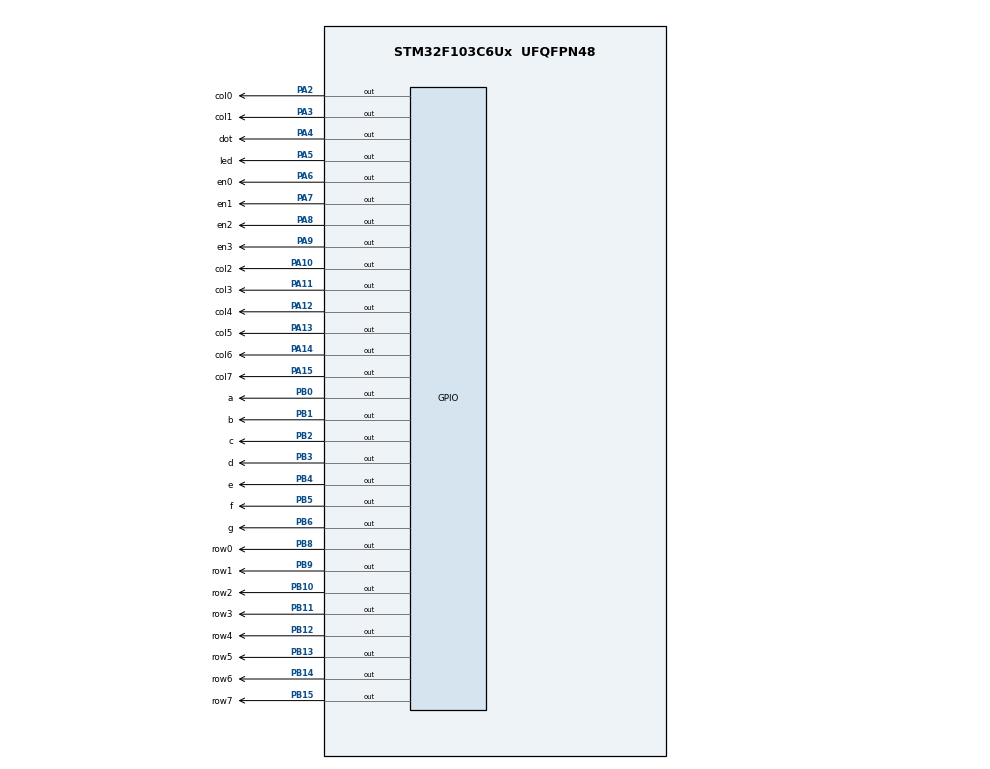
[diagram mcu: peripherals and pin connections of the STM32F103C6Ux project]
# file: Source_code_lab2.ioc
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Mcu.Family=STM32F1
Mcu.Name=STM32F103C6Ux
Mcu.Package=UFQFPN48
NVIC.PriorityGroup=NVIC_PRIORITYGROUP_4
NVIC.TIM2_IRQn=true\:0\:0\:false\:false\:true\:true\:true
PA10.GPIO_Label=col2
PA10.Signal=GPIO_Output
PA11.GPIO_Label=col3
PA11.Signal=GPIO_Output
PA12.GPIO_Label=col4
PA12.Signal=GPIO_Output
PA13.GPIO_Label=col5
PA13.Signal=GPIO_Output
PA14.GPIO_Label=col6
PA14.Signal=GPIO_Output
PA15.GPIO_Label=col7
PA15.Signal=GPIO_Output
PA2.GPIO_Label=col0
PA2.Signal=GPIO_Output
PA3.GPIO_Label=col1
PA3.Signal=GPIO_Output
PA4.GPIO_Label=dot
PA4.Signal=GPIO_Output
PA5.GPIO_Label=led
PA5.Signal=GPIO_Output
PA6.GPIO_Label=en0
PA6.Signal=GPIO_Output
PA7.GPIO_Label=en1
PA7.Signal=GPIO_Output
PA8.GPIO_Label=en2
PA8.Signal=GPIO_Output
PA9.GPIO_Label=en3
PA9.Signal=GPIO_Output
PB0.GPIO_Label=a
PB0.Signal=GPIO_Output
PB1.GPIO_Label=b
PB1.Signal=GPIO_Output
PB10.GPIO_Label=row2
PB10.Signal=GPIO_Output
PB11.GPIO_Label=row3
PB11.Signal=GPIO_Output
PB12.GPIO_Label=row4
PB12.Signal=GPIO_Output
PB13.GPIO_Label=row5
PB13.Signal=GPIO_Output
PB14.GPIO_Label=row6
PB14.Signal=GPIO_Output
PB15.GPIO_Label=row7
PB15.Signal=GPIO_Output
PB2.GPIO_Label=c
PB2.Signal=GPIO_Output
PB3.GPIO_Label=d
PB3.Signal=GPIO_Output
PB4.GPIO_Label=e
PB4.Signal=GPIO_Output
PB5.GPIO_Label=f
PB5.Signal=GPIO_Output
PB6.GPIO_Label=g
PB6.Signal=GPIO_Output
PB8.GPIO_Label=row0
PB8.Signal=GPIO_Output
PB9.GPIO_Label=row1
PB9.Signal=GPIO_Output
ProjectManager.HeapSize=0x200
ProjectManager.StackSize=0x400
ProjectManager.TargetToolchain=STM32CubeIDE
RCC.APB1Freq_Value=8000000
RCC.APB2Freq_Value=8000000
TIM2.Period=9
TIM2.Prescaler=7999
VP_SYS_VS_ND.Mode=No_Debug
VP_TIM2_VS_ClockSourceINT.Mode=Internal
board=custom

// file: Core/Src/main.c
/* USER CODE BEGIN Header */
/**
  ******************************************************************************
  * @file           : main.c
  * @brief          : Main program body
  ******************************************************************************
  * @attention
  *
  * <h2><center>&copy; Copyright (c) 2023 STMicroelectronics.
  * All rights reserved.</center></h2>
  *
  * This software component is licensed by ST under BSD 3-Clause license,
  * the "License"; You may not use this file except in compliance with the
  * License. You may obtain a copy of the License at:
  *                        opensource.org/licenses/BSD-3-Clause
  *
  ******************************************************************************
  */
/* USER CODE END Header */
#include "main.h"
#include "software_timer.h"

TIM_HandleTypeDef htim2;

void SystemClock_Config(void);
static void MX_GPIO_Init(void);
static void MX_TIM2_Init(void);

void display7SEG(int num){
	  if (num == 0){
		  HAL_GPIO_WritePin(a_GPIO_Port, a_Pin, RESET);
		  HAL_GPIO_WritePin(b_GPIO_Port, b_Pin, RESET);
		  HAL_GPIO_WritePin(c_GPIO_Port, c_Pin, RESET);
		  HAL_GPIO_WritePin(d_GPIO_Port, d_Pin, RESET);
		  HAL_GPIO_WritePin(e_GPIO_Port, e_Pin, RESET);
		  HAL_GPIO_WritePin(f_GPIO_Port, f_Pin, RESET);
		  HAL_GPIO_WritePin(g_GPIO_Port, g_Pin, SET);
	  }
	  else if (num == 1){
		  HAL_GPIO_WritePin(a_GPIO_Port, a_Pin, SET);
		  HAL_GPIO_WritePin(b_GPIO_Port, b_Pin, RESET);
		  HAL_GPIO_WritePin(c_GPIO_Port, c_Pin, RESET);
		  HAL_GPIO_WritePin(d_GPIO_Port, d_Pin, SET);
		  HAL_GPIO_WritePin(e_GPIO_Port, e_Pin, SET);
		  HAL_GPIO_WritePin(f_GPIO_Port, f_Pin, SET);
		  HAL_GPIO_WritePin(g_GPIO_Port, g_Pin, SET);
	  }
	  else if (num == 2){
		  HAL_GPIO_WritePin(a_GPIO_Port, a_Pin, RESET);
		  HAL_GPIO_WritePin(b_GPIO_Port, b_Pin, RESET);
		  HAL_GPIO_WritePin(c_GPIO_Port, c_Pin, SET);
		  HAL_GPIO_WritePin(d_GPIO_Port, d_Pin, RESET);
		  HAL_GPIO_WritePin(e_GPIO_Port, e_Pin, RESET);
		  HAL_GPIO_WritePin(f_GPIO_Port, f_Pin, SET);
		  HAL_GPIO_WritePin(g_GPIO_Port, g_Pin, RESET);
	  }
	  else if (num == 3){
		  HAL_GPIO_WritePin(a_GPIO_Port, a_Pin, RESET);
		  HAL_GPIO_WritePin(b_GPIO_Port, b_Pin, RESET);
		  HAL_GPIO_WritePin(c_GPIO_Port, c_Pin, RESET);
		  HAL_GPIO_WritePin(d_GPIO_Port, d_Pin, RESET);
		  HAL_GPIO_WritePin(e_GPIO_Port, e_Pin, SET);
		  HAL_GPIO_WritePin(f_GPIO_Port, f_Pin, SET);
		  HAL_GPIO_WritePin(g_GPIO_Port, g_Pin, RESET);
	  }
	  else if (num == 4){
		  HAL_GPIO_WritePin(a_GPIO_Port, a_Pin, SET);
		  HAL_GPIO_WritePin(b_GPIO_Port, b_Pin, RESET);
		  HAL_GPIO_WritePin(c_GPIO_Port, c_Pin, RESET);
		  HAL_GPIO_WritePin(d_GPIO_Port, d_Pin, SET);
		  HAL_GPIO_WritePin(e_GPIO_Port, e_Pin, SET);
		  HAL_GPIO_WritePin(f_GPIO_Port, f_Pin, RESET);
		  HAL_GPIO_WritePin(g_GPIO_Port, g_Pin, RESET);
	  }
	  else if (num == 5){
		  HAL_GPIO_WritePin(a_GPIO_Port, a_Pin, RESET);
		  HAL_GPIO_WritePin(b_GPIO_Port, b_Pin, SET);
		  HAL_GPIO_WritePin(c_GPIO_Port, c_Pin, RESET);
		  HAL_GPIO_WritePin(d_GPIO_Port, d_Pin, RESET);
		  HAL_GPIO_WritePin(e_GPIO_Port, e_Pin, SET);
		  HAL_GPIO_WritePin(f_GPIO_Port, f_Pin, RESET);
		  HAL_GPIO_WritePin(g_GPIO_Port, g_Pin, RESET);
	  }
	  else if (num == 6){
		  HAL_GPIO_WritePin(a_GPIO_Port, a_Pin, RESET);
		  HAL_GPIO_WritePin(b_GPIO_Port, b_Pin, SET);
		  HAL_GPIO_WritePin(c_GPIO_Port, c_Pin, RESET);
		  HAL_GPIO_WritePin(d_GPIO_Port, d_Pin, RESET);
		  HAL_GPIO_WritePin(e_GPIO_Port, e_Pin, RESET);
		  HAL_GPIO_WritePin(f_GPIO_Port, f_Pin, RESET);
		  HAL_GPIO_WritePin(g_GPIO_Port, g_Pin, RESET);
	  }
	  else if (num == 7){
		  HAL_GPIO_WritePin(a_GPIO_Port, a_Pin, RESET);
		  HAL_GPIO_WritePin(b_GPIO_Port, b_Pin, RESET);
		  HAL_GPIO_WritePin(c_GPIO_Port, c_Pin, RESET);
		  HAL_GPIO_WritePin(d_GPIO_Port, d_Pin, SET);
		  HAL_GPIO_WritePin(e_GPIO_Port, e_Pin, SET);
		  HAL_GPIO_WritePin(f_GPIO_Port, f_Pin, SET);
		  HAL_GPIO_WritePin(g_GPIO_Port, g_Pin, SET);
	  }
	  else if (num == 8){
		  HAL_GPIO_WritePin(a_GPIO_Port, a_Pin, RESET);
		  HAL_GPIO_WritePin(b_GPIO_Port, b_Pin, RESET);
		  HAL_GPIO_WritePin(c_GPIO_Port, c_Pin, RESET);
		  HAL_GPIO_WritePin(d_GPIO_Port, d_Pin, RESET);
		  HAL_GPIO_WritePin(e_GPIO_Port, e_Pin, RESET);
		  HAL_GPIO_WritePin(f_GPIO_Port, f_Pin, RESET);
		  HAL_GPIO_WritePin(g_GPIO_Port, g_Pin, RESET);
	  }
	  else if (num == 9){
		  HAL_GPIO_WritePin(a_GPIO_Port, a_Pin, RESET);
		  HAL_GPIO_WritePin(b_GPIO_Port, b_Pin, RESET);
		  HAL_GPIO_WritePin(c_GPIO_Port, c_Pin, RESET);
		  HAL_GPIO_WritePin(d_GPIO_Port, d_Pin, RESET);
		  HAL_GPIO_WritePin(e_GPIO_Port, e_Pin, SET);
		  HAL_GPIO_WritePin(f_GPIO_Port, f_Pin, RESET);
		  HAL_GPIO_WritePin(g_GPIO_Port, g_Pin, RESET);
	  }
}

int main(void)
{

  /* MCU Configuration--------------------------------------------------------*/

  /* Reset of all peripherals, Initializes the Flash interface and the Systick. */
  HAL_Init();

  /* Configure the system clock */
  SystemClock_Config();

  /* Initialize all configured peripherals */
  MX_GPIO_Init();
  MX_TIM2_Init();
  /* USER CODE BEGIN 2 */
HAL_TIM_Base_Start_IT(&htim2);
  /* USER CODE END 2 */

  /* Infinite loop */
  /* USER CODE BEGIN WHILE */
const int MAX_LED = 4;
int index_led = 0;
int led_buffer[4] = {1, 5, 0, 8};
void update7SEG(int index){
	display7SEG(led_buffer[index]);
    switch (index){
        case 0:
            //Display the first 7SEG with led_buffer[0]
			  HAL_GPIO_WritePin(en0_GPIO_Port, en0_Pin, RESET);
			  HAL_GPIO_WritePin(en1_GPIO_Port, en1_Pin, SET);
			  HAL_GPIO_WritePin(en2_GPIO_Port, en2_Pin, SET);
			  HAL_GPIO_WritePin(en3_GPIO_Port, en3_Pin, SET);
            break;
        case 1:
			  HAL_GPIO_WritePin(en0_GPIO_Port, en0_Pin, SET);
			  HAL_GPIO_WritePin(en1_GPIO_Port, en1_Pin, RESET);
			  HAL_GPIO_WritePin(en2_GPIO_Port, en2_Pin, SET);
			  HAL_GPIO_WritePin(en3_GPIO_Port, en3_Pin, SET);
            //Display the second 7SEG with led_buffer[1]
            break;
        case 2:
            //Display the third 7SEG with led_buffer[2]
			  HAL_GPIO_WritePin(en0_GPIO_Port, en0_Pin, SET);
			  HAL_GPIO_WritePin(en1_GPIO_Port, en1_Pin, SET);
			  HAL_GPIO_WritePin(en2_GPIO_Port, en2_Pin, RESET);
			  HAL_GPIO_WritePin(en3_GPIO_Port, en3_Pin, SET);
            break;
        case 3:
            //Display the forth 7SEG with led_buffer[3]
			  HAL_GPIO_WritePin(en0_GPIO_Port, en0_Pin, SET);
			  HAL_GPIO_WritePin(en1_GPIO_Port, en1_Pin, SET);
			  HAL_GPIO_WritePin(en2_GPIO_Port, en2_Pin, SET);
			  HAL_GPIO_WritePin(en3_GPIO_Port, en3_Pin, RESET);
            break;
        default:
            break;
    }
}
int hour = 15, minute = 8, second = 50;
void updateClockBuffer(){
	led_buffer[0] = hour/10;
	led_buffer[1] = hour%10;
	led_buffer[2] = minute/10;
	led_buffer[3] = minute%10;
}
setTimer1(25);
setTimer2(100);
setTimer3(100);
setTimer4(100);
while (1)
{
  /* USER CODE END WHILE */
	  if (timer4_flag == 1){
		    second++;
		    if (second >= 60){
		        second = 0;
		        minute++;
		    }
		    if(minute >= 60){
		        minute = 0;
		        hour++;
		    }
		    if(hour >=24){
		        hour = 0;
		    }
		    updateClockBuffer();
		    setTimer4(100);
	  }
	  if (timer1_flag == 1){
		  update7SEG(index_led++);
		  setTimer1 (25);
		  if (index_led >= 4) index_led = 0;
	  }
	  if (timer2_flag == 1){
		  HAL_GPIO_TogglePin(dot_GPIO_Port, dot_Pin);
		  setTimer2(100);
	  }
	  if (timer3_flag == 1){
		  HAL_GPIO_TogglePin(led_GPIO_Port, led_Pin);
		  setTimer3(100);
	  }
}
}

void SystemClock_Config(void)
{
  RCC_OscInitTypeDef RCC_OscInitStruct = {0};
  RCC_ClkInitTypeDef RCC_ClkInitStruct = {0};

  /** Initializes the RCC Oscillators according to the specified parameters
  * in the RCC_OscInitTypeDef structure.
  */
  RCC_OscInitStruct.OscillatorType = RCC_OSCILLATORTYPE_HSI;
  RCC_OscInitStruct.HSIState = RCC_HSI_ON;
  RCC_OscInitStruct.HSICalibrationValue = RCC_HSICALIBRATION_DEFAULT;
  RCC_OscInitStruct.PLL.PLLState = RCC_PLL_NONE;
  if (HAL_RCC_OscConfig(&RCC_OscInitStruct) != HAL_OK)
  {
    Error_Handler();
  }
  /** Initializes the CPU, AHB and APB buses clocks
  */
  RCC_ClkInitStruct.ClockType = RCC_CLOCKTYPE_HCLK|RCC_CLOCKTYPE_SYSCLK
                              |RCC_CLOCKTYPE_PCLK1|RCC_CLOCKTYPE_PCLK2;
  RCC_ClkInitStruct.SYSCLKSource = RCC_SYSCLKSOURCE_HSI;
  RCC_ClkInitStruct.AHBCLKDivider = RCC_SYSCLK_DIV1;
  RCC_ClkInitStruct.APB1CLKDivider = RCC_HCLK_DIV1;
  RCC_ClkInitStruct.APB2CLKDivider = RCC_HCLK_DIV1;

  if (HAL_RCC_ClockConfig(&RCC_ClkInitStruct, FLASH_LATENCY_0) != HAL_OK)
  {
    Error_Handler();
  }
}

static void MX_TIM2_Init(void)
{

  TIM_ClockConfigTypeDef sClockSourceConfig = {0};
  TIM_MasterConfigTypeDef sMasterConfig = {0};

  htim2.Instance = TIM2;
  htim2.Init.Prescaler = 7999;
  htim2.Init.CounterMode = TIM_COUNTERMODE_UP;
  htim2.Init.Period = 9;
  htim2.Init.ClockDivision = TIM_CLOCKDIVISION_DIV1;
  htim2.Init.AutoReloadPreload = TIM_AUTORELOAD_PRELOAD_DISABLE;
  if (HAL_TIM_Base_Init(&htim2) != HAL_OK)
  {
    Error_Handler();
  }
  sClockSourceConfig.ClockSource = TIM_CLOCKSOURCE_INTERNAL;
  if (HAL_TIM_ConfigClockSource(&htim2, &sClockSourceConfig) != HAL_OK)
  {
    Error_Handler();
  }
  sMasterConfig.MasterOutputTrigger = TIM_TRGO_RESET;
  sMasterConfig.MasterSlaveMode = TIM_MASTERSLAVEMODE_DISABLE;
  if (HAL_TIMEx_MasterConfigSynchronization(&htim2, &sMasterConfig) != HAL_OK)
  {
    Error_Handler();
  }

}

static void MX_GPIO_Init(void)
{
  GPIO_InitTypeDef GPIO_InitStruct = {0};

  /* GPIO Ports Clock Enable */
  __HAL_RCC_GPIOA_CLK_ENABLE();
  __HAL_RCC_GPIOB_CLK_ENABLE();

  /*Configure GPIO pin Output Level */
  HAL_GPIO_WritePin(GPIOA, dot_Pin|led_Pin|en0_Pin|en1_Pin
                          |en2_Pin|en3_Pin, GPIO_PIN_RESET);

  /*Configure GPIO pin Output Level */
  HAL_GPIO_WritePin(GPIOB, a_Pin|b_Pin|c_Pin|d_Pin
                          |e_Pin|f_Pin|g_Pin, GPIO_PIN_RESET);

  /*Configure GPIO pins : dot_Pin led_Pin en0_Pin en1_Pin
                           en2_Pin en3_Pin */
  GPIO_InitStruct.Pin = dot_Pin|led_Pin|en0_Pin|en1_Pin
                          |en2_Pin|en3_Pin;
  GPIO_InitStruct.Mode = GPIO_MODE_OUTPUT_PP;
  GPIO_InitStruct.Pull = GPIO_NOPULL;
  GPIO_InitStruct.Speed = GPIO_SPEED_FREQ_LOW;
  HAL_GPIO_Init(GPIOA, &GPIO_InitStruct);

  /*Configure GPIO pins : a_Pin b_Pin c_Pin d_Pin
                           e_Pin f_Pin g_Pin */
  GPIO_InitStruct.Pin = a_Pin|b_Pin|c_Pin|d_Pin
                          |e_Pin|f_Pin|g_Pin;
  GPIO_InitStruct.Mode = GPIO_MODE_OUTPUT_PP;
  GPIO_InitStruct.Pull = GPIO_NOPULL;
  GPIO_InitStruct.Speed = GPIO_SPEED_FREQ_LOW;
  HAL_GPIO_Init(GPIOB, &GPIO_InitStruct);

}

/* USER CODE BEGIN 4 */
void HAL_TIM_PeriodElapsedCallback(TIM_HandleTypeDef *htim){
	timerRun();
}
/* USER CODE END 4 */

void Error_Handler(void)
{
  __disable_irq();
  while (1)
  {
  }
}

/************************ (C) COPYRIGHT STMicroelectronics *****END OF FILE****/
